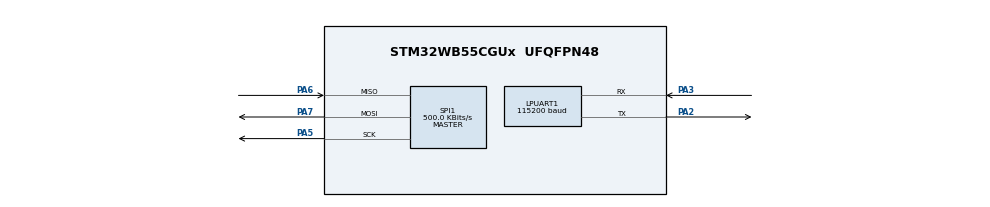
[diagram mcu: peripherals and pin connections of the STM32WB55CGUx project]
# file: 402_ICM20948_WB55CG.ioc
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LPUART1.BaudRate=115200
Mcu.Family=STM32WB
Mcu.Name=STM32WB55CGUx
Mcu.Package=UFQFPN48
NVIC.PriorityGroup=NVIC_PRIORITYGROUP_4
OSC_IN.Mode=HSE-External-Oscillator
OSC_IN.Signal=RCC_OSC_IN
OSC_OUT.Mode=HSE-External-Oscillator
OSC_OUT.Signal=RCC_OSC_OUT
PA13.Mode=Serial_Wire
PA13.Signal=SYS_JTMS-SWDIO
PA14.Mode=Serial_Wire
PA14.Signal=SYS_JTCK-SWCLK
PA2.Mode=Asynchronous
PA2.Signal=LPUART1_TX
PA3.Mode=Asynchronous
PA3.Signal=LPUART1_RX
PA5.Mode=Full_Duplex_Master
PA5.Signal=SPI1_SCK
PA6.Mode=Full_Duplex_Master
PA6.Signal=SPI1_MISO
PA7.Mode=Full_Duplex_Master
PA7.Signal=SPI1_MOSI
PB2.GPIO_Label=IMU_CS
PB2.Signal=SPI1_NSS
PC14-OSC32_IN.Mode=LSE-External-Oscillator
PC14-OSC32_IN.Signal=RCC_OSC32_IN
PC15-OSC32_OUT.Mode=LSE-External-Oscillator
PC15-OSC32_OUT.Signal=RCC_OSC32_OUT
ProjectManager.HeapSize=0x200
ProjectManager.StackSize=0x400
ProjectManager.TargetToolchain=STM32CubeIDE
RCC.APB3Freq_Value=4000000
RCC.HSE_VALUE=8000000
RCC.HSI48_VALUE=48000000
RCC.HSI_VALUE=16000000
RCC.VCOOutputFreq_Value=32000000
SPI1.BaudRatePrescaler=SPI_BAUDRATEPRESCALER_8
SPI1.CLKPhase=SPI_PHASE_2EDGE
SPI1.CLKPolarity=SPI_POLARITY_HIGH
SPI1.CalculateBaudRate=500.0 KBits/s
SPI1.DataSize=SPI_DATASIZE_8BIT
SPI1.Direction=SPI_DIRECTION_2LINES
SPI1.Mode=SPI_MODE_MASTER
SPI1.VirtualType=VM_MASTER
VP_MEMORYMAP_VS_MEMORYMAP.Mode=CurAppReg
board=custom

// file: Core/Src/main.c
/* USER CODE BEGIN Header */
/**
  ******************************************************************************
  * @file           : main.c
  * @brief          : Main program body
  ******************************************************************************
  * @attention
  *
  * Copyright (c) 2026 STMicroelectronics.
  * All rights reserved.
  *
  * This software is licensed under terms that can be found in the LICENSE file
  * in the root directory of this software component.
  * If no LICENSE file comes with this software, it is provided AS-IS.
  *
  ******************************************************************************
  */
/* USER CODE END Header */
#include "main.h"

/* USER CODE BEGIN Includes */
#include "icm20948.h"
#include <stdio.h>
/* USER CODE END Includes */

UART_HandleTypeDef hlpuart1;

SPI_HandleTypeDef hspi1;

void SystemClock_Config(void);
void PeriphCommonClock_Config(void);
static void MX_GPIO_Init(void);
static void MX_LPUART1_UART_Init(void);
static void MX_SPI1_Init(void);

/* USER CODE BEGIN 0 */
/**
 * Redirect printf to LPUART1.
 * With this, every printf("...") call sends text to your serial terminal.
 */
int __io_putchar(int ch)
{
    HAL_UART_Transmit(&hlpuart1, (uint8_t *)&ch, 1, HAL_MAX_DELAY);
    return ch;
}

/* USER CODE END 0 */

int main(void)
{

  /* USER CODE BEGIN 1 */
	ICM_Data   sensor_data;   /* All sensor readings go here */
	uint8_t    who_am_i;      /* For verifying the sensor ID */
  /* USER CODE END 1 */

  /* MCU Configuration--------------------------------------------------------*/

  /* Reset of all peripherals, Initializes the Flash interface and the Systick. */
  HAL_Init();

  /* Configure the system clock */
  SystemClock_Config();

  /* Configure the peripherals common clocks */
  PeriphCommonClock_Config();

  /* Initialize all configured peripherals */
  MX_GPIO_Init();
  MX_LPUART1_UART_Init();
  MX_SPI1_Init();
  /* USER CODE BEGIN 2 */

  printf("\r\n===== ICM-20948 SPI Driver =====\r\n");
  printf("Initialising sensor...\r\n");

  /* Verify WHO_AM_I */
  who_am_i = ICM20948_WhoAmI();
  printf("WHO_AM_I = 0x%02X (expected 0xEA)\r\n", who_am_i);

  /* Full initialisation */
  if (ICM20948_Init() != ICM_OK) {
      printf("FATAL: Sensor init failed! Check wiring.\r\n");
      while (1); /* halt */
  }

  printf("Starting sensor loop...\r\n\r\n");
  /* USER CODE END 2 */

  /* Infinite loop */
  while (1)
  {

    /* USER CODE BEGIN 3 */
  }
  /* Read all sensors at once */
  ICM20948_ReadAll(&sensor_data);

  /* Print accelerometer */
  printf("ACCEL: X=%.3f  Y=%.3f  Z=%.3f  [g]\r\n",
         sensor_data.accel_g.x,
         sensor_data.accel_g.y,
         sensor_data.accel_g.z);

  /* Print gyroscope */
  printf("GYRO:  X=%.2f  Y=%.2f  Z=%.2f  [dps]\r\n",
         sensor_data.gyro_dps.x,
         sensor_data.gyro_dps.y,
         sensor_data.gyro_dps.z);

  /* Print magnetometer */
  printf("MAG:   X=%.2f  Y=%.2f  Z=%.2f  [uT]\r\n",
         sensor_data.mag_uT.x,
         sensor_data.mag_uT.y,
         sensor_data.mag_uT.z);

  /* Print temperature */
  printf("TEMP:  %.2f C\r\n", sensor_data.temp_C);

  printf("---\r\n");
  HAL_Delay(100);  /* 10 Hz output rate — adjust as needed */
  /* USER CODE END 3 */
}

void SystemClock_Config(void)
{
  RCC_OscInitTypeDef RCC_OscInitStruct = {0};
  RCC_ClkInitTypeDef RCC_ClkInitStruct = {0};

  /** Configure the main internal regulator output voltage
  */
  __HAL_PWR_VOLTAGESCALING_CONFIG(PWR_REGULATOR_VOLTAGE_SCALE1);

  /** Initializes the RCC Oscillators according to the specified parameters
  * in the RCC_OscInitTypeDef structure.
  */
  RCC_OscInitStruct.OscillatorType = RCC_OSCILLATORTYPE_HSI|RCC_OSCILLATORTYPE_HSE
                              |RCC_OSCILLATORTYPE_MSI;
  RCC_OscInitStruct.HSEState = RCC_HSE_ON;
  RCC_OscInitStruct.HSIState = RCC_HSI_ON;
  RCC_OscInitStruct.MSIState = RCC_MSI_ON;
  RCC_OscInitStruct.HSICalibrationValue = RCC_HSICALIBRATION_DEFAULT;
  RCC_OscInitStruct.MSICalibrationValue = RCC_MSICALIBRATION_DEFAULT;
  RCC_OscInitStruct.MSIClockRange = RCC_MSIRANGE_6;
  RCC_OscInitStruct.PLL.PLLState = RCC_PLL_NONE;
  if (HAL_RCC_OscConfig(&RCC_OscInitStruct) != HAL_OK)
  {
    Error_Handler();
  }

  /** Configure the SYSCLKSource, HCLK, PCLK1 and PCLK2 clocks dividers
  */
  RCC_ClkInitStruct.ClockType = RCC_CLOCKTYPE_HCLK4|RCC_CLOCKTYPE_HCLK2
                              |RCC_CLOCKTYPE_HCLK|RCC_CLOCKTYPE_SYSCLK
                              |RCC_CLOCKTYPE_PCLK1|RCC_CLOCKTYPE_PCLK2;
  RCC_ClkInitStruct.SYSCLKSource = RCC_SYSCLKSOURCE_MSI;
  RCC_ClkInitStruct.AHBCLKDivider = RCC_SYSCLK_DIV1;
  RCC_ClkInitStruct.APB1CLKDivider = RCC_HCLK_DIV1;
  RCC_ClkInitStruct.APB2CLKDivider = RCC_HCLK_DIV1;
  RCC_ClkInitStruct.AHBCLK2Divider = RCC_SYSCLK_DIV1;
  RCC_ClkInitStruct.AHBCLK4Divider = RCC_SYSCLK_DIV1;

  if (HAL_RCC_ClockConfig(&RCC_ClkInitStruct, FLASH_LATENCY_0) != HAL_OK)
  {
    Error_Handler();
  }
}

void PeriphCommonClock_Config(void)
{
  RCC_PeriphCLKInitTypeDef PeriphClkInitStruct = {0};

  /** Initializes the peripherals clock
  */
  PeriphClkInitStruct.PeriphClockSelection = RCC_PERIPHCLK_SMPS;
  PeriphClkInitStruct.SmpsClockSelection = RCC_SMPSCLKSOURCE_HSI;
  PeriphClkInitStruct.SmpsDivSelection = RCC_SMPSCLKDIV_RANGE1;

  if (HAL_RCCEx_PeriphCLKConfig(&PeriphClkInitStruct) != HAL_OK)
  {
    Error_Handler();
  }
}

static void MX_LPUART1_UART_Init(void)
{

  hlpuart1.Instance = LPUART1;
  hlpuart1.Init.BaudRate = 115200;
  hlpuart1.Init.WordLength = UART_WORDLENGTH_8B;
  hlpuart1.Init.StopBits = UART_STOPBITS_1;
  hlpuart1.Init.Parity = UART_PARITY_NONE;
  hlpuart1.Init.Mode = UART_MODE_TX_RX;
  hlpuart1.Init.HwFlowCtl = UART_HWCONTROL_NONE;
  hlpuart1.Init.OneBitSampling = UART_ONE_BIT_SAMPLE_DISABLE;
  hlpuart1.Init.ClockPrescaler = UART_PRESCALER_DIV1;
  hlpuart1.AdvancedInit.AdvFeatureInit = UART_ADVFEATURE_NO_INIT;
  hlpuart1.FifoMode = UART_FIFOMODE_DISABLE;
  if (HAL_UART_Init(&hlpuart1) != HAL_OK)
  {
    Error_Handler();
  }
  if (HAL_UARTEx_SetTxFifoThreshold(&hlpuart1, UART_TXFIFO_THRESHOLD_1_8) != HAL_OK)
  {
    Error_Handler();
  }
  if (HAL_UARTEx_SetRxFifoThreshold(&hlpuart1, UART_RXFIFO_THRESHOLD_1_8) != HAL_OK)
  {
    Error_Handler();
  }
  if (HAL_UARTEx_DisableFifoMode(&hlpuart1) != HAL_OK)
  {
    Error_Handler();
  }

}

static void MX_SPI1_Init(void)
{

  /* SPI1 parameter configuration*/
  hspi1.Instance = SPI1;
  hspi1.Init.Mode = SPI_MODE_MASTER;
  hspi1.Init.Direction = SPI_DIRECTION_2LINES;
  hspi1.Init.DataSize = SPI_DATASIZE_8BIT;
  hspi1.Init.CLKPolarity = SPI_POLARITY_HIGH;
  hspi1.Init.CLKPhase = SPI_PHASE_2EDGE;
  hspi1.Init.NSS = SPI_NSS_SOFT;
  hspi1.Init.BaudRatePrescaler = SPI_BAUDRATEPRESCALER_8;
  hspi1.Init.FirstBit = SPI_FIRSTBIT_MSB;
  hspi1.Init.TIMode = SPI_TIMODE_DISABLE;
  hspi1.Init.CRCCalculation = SPI_CRCCALCULATION_DISABLE;
  hspi1.Init.CRCPolynomial = 7;
  hspi1.Init.CRCLength = SPI_CRC_LENGTH_DATASIZE;
  hspi1.Init.NSSPMode = SPI_NSS_PULSE_DISABLE;
  if (HAL_SPI_Init(&hspi1) != HAL_OK)
  {
    Error_Handler();
  }

}

static void MX_GPIO_Init(void)
{

  /* GPIO Ports Clock Enable */
  __HAL_RCC_GPIOC_CLK_ENABLE();
  __HAL_RCC_GPIOA_CLK_ENABLE();
  __HAL_RCC_GPIOB_CLK_ENABLE();

}

void Error_Handler(void)
{
  __disable_irq();
  while (1)
  {
  }
}
